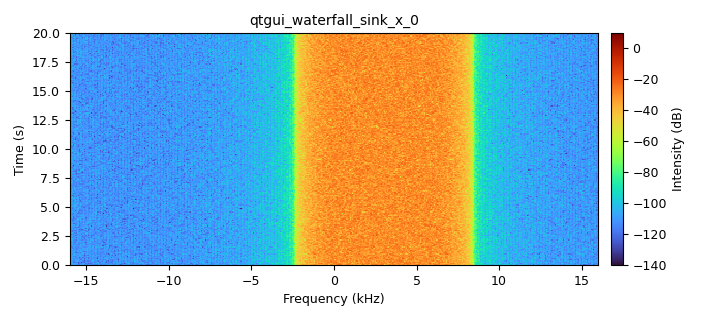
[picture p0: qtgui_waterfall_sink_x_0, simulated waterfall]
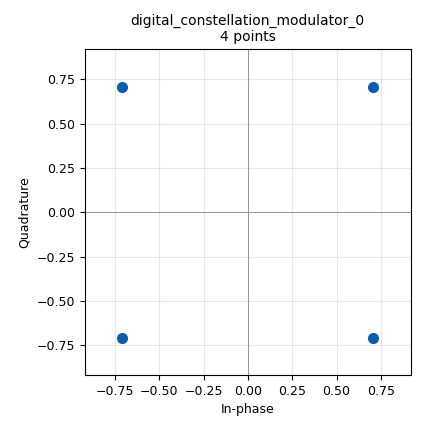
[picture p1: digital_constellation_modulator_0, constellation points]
<?xml version='1.0' encoding='utf-8'?>
<?grc format='1' created='3.7.13'?>
<flow_graph>
<block>
<key>options</key>
<param><key>id</key><value>top_block</value></param>
<param><key>generate_options</key><value>qt_gui</value></param>
</block>
<block>
<key>variable</key>
<param><key>id</key><value>exbw</value></param>
<param><key>value</key><value>.35</value></param>
</block>
<block>
<key>variable_qtgui_range</key>
<param><key>id</key><value>fc</value></param>
<param><key>value</key><value>3000</value></param>
<param><key>label</key><value>Mixer frequency</value></param>
<param><key>orient</key><value>Qt.Horizontal</value></param>
<param><key>start</key><value>-samp_rate*.5</value></param>
<param><key>step</key><value>100</value></param>
<param><key>stop</key><value>samp_rate*.5</value></param>
</block>
<block>
<key>variable_qtgui_range</key>
<param><key>id</key><value>k0_var</value></param>
<param><key>value</key><value>0</value></param>
<param><key>label</key><value>White phase noise</value></param>
<param><key>orient</key><value>Qt.Horizontal</value></param>
<param><key>start</key><value>0</value></param>
<param><key>step</key><value>.01</value></param>
<param><key>stop</key><value>.1</value></param>
</block>
<block>
<key>variable_qtgui_range</key>
<param><key>id</key><value>k2_var</value></param>
<param><key>value</key><value>0</value></param>
<param><key>label</key><value>Flicker noise</value></param>
<param><key>orient</key><value>Qt.Horizontal</value></param>
<param><key>start</key><value>0</value></param>
<param><key>step</key><value>.01</value></param>
<param><key>stop</key><value>.1</value></param>
</block>
<block>
<key>variable_constellation_rect</key>
<param><key>id</key><value>my_constellation</value></param>
<param><key>const_points</key><value>[-1-1j, -1+1j, 1+1j, 1-1j]</value></param>
<param><key>imag_sect</key><value>2</value></param>
<param><key>real_sect</key><value>2</value></param>
<param><key>rot_sym</key><value>4</value></param>
<param><key>sym_map</key><value>[0, 1, 3, 2]</value></param>
<param><key>w_imag_sect</key><value>1</value></param>
<param><key>w_real_sect</key><value>1</value></param>
</block>
<block>
<key>variable</key>
<param><key>id</key><value>pha_inc</value></param>
<param><key>value</key><value>fc*2.0*np.pi/samp_rate</value></param>
</block>
<block>
<key>variable</key>
<param><key>id</key><value>samp_rate</value></param>
<param><key>value</key><value>32000</value></param>
</block>
<block>
<key>variable</key>
<param><key>id</key><value>sps</value></param>
<param><key>value</key><value>4</value></param>
</block>
<block>
<key>analog_random_source_x</key>
<param><key>id</key><value>analog_random_source_x_0</value></param>
<param><key>max</key><value>256</value></param>
<param><key>min</key><value>0</value></param>
<param><key>num_samps</key><value>12345</value></param>
<param><key>type</key><value>byte</value></param>
<param><key>repeat</key><value>True</value></param>
</block>
<block>
<key>analog_sig_source_x</key>
<param><key>id</key><value>analog_sig_source_x_0</value></param>
<param><key>amp</key><value>1</value></param>
<param><key>_enabled</key><value>0</value></param>
<param><key>freq</key><value>1000</value></param>
<param><key>offset</key><value>0</value></param>
<param><key>type</key><value>complex</value></param>
<param><key>samp_rate</key><value>samp_rate</value></param>
<param><key>waveform</key><value>analog.GR_COS_WAVE</value></param>
</block>
<block>
<key>blocks_rotator_cc</key>
<param><key>id</key><value>blocks_rotator_cc_0</value></param>
<param><key>phase_inc</key><value>pha_inc</value></param>
</block>
<block>
<key>blocks_throttle</key>
<param><key>id</key><value>blocks_throttle_0</value></param>
<param><key>samples_per_second</key><value>samp_rate</value></param>
<param><key>type</key><value>complex</value></param>
</block>
<block>
<key>digital_constellation_modulator</key>
<param><key>id</key><value>digital_constellation_modulator_0</value></param>
<param><key>constellation</key><value>my_constellation</value></param>
<param><key>differential</key><value>True</value></param>
<param><key>excess_bw</key><value>exbw</value></param>
<param><key>samples_per_symbol</key><value>sps</value></param>
</block>
<block>
<key>import</key>
<param><key>id</key><value>import_0</value></param>
<param><key>import</key><value>import numpy as np</value></param>
</block>
<block>
<key>qtgui_waterfall_sink_x</key>
<param><key>id</key><value>qtgui_waterfall_sink_x_0</value></param>
<param><key>bw</key><value>samp_rate</value></param>
<param><key>fc</key><value>0</value></param>
<param><key>fftsize</key><value>1024</value></param>
<param><key>showports</key><value>True</value></param>
<param><key>type</key><value>complex</value></param>
<param><key>wintype</key><value>firdes.WIN_BLACKMAN_hARRIS</value></param>
</block>
<block>
<key>qtgui_waterfall_sink_x</key>
<param><key>id</key><value>qtgui_waterfall_sink_x_0_0</value></param>
<param><key>bw</key><value>samp_rate</value></param>
<param><key>fc</key><value>0</value></param>
<param><key>fftsize</key><value>1024</value></param>
<param><key>showports</key><value>True</value></param>
<param><key>type</key><value>complex</value></param>
<param><key>wintype</key><value>firdes.WIN_BLACKMAN_hARRIS</value></param>
</block>
<block>
<key>shfcc_phase_noise_mixer_cc</key>
<param><key>id</key><value>shfcc_phase_noise_mixer_cc_0</value></param>
<param><key>impair</key><value>True</value></param>
<param><key>k0</key><value>k0_var</value></param>
<param><key>k2</key><value>k2_var</value></param>
<param><key>k3</key><value>0</value></param>
<param><key>fc</key><value>fc</value></param>
<param><key>fs</key><value>samp_rate</value></param>
</block>
<block>
<key>virtual_sink</key>
<param><key>id</key><value>virtual_sink_0</value></param>
<param><key>stream_id</key><value>vid</value></param>
</block>
<block>
<key>virtual_source</key>
<param><key>id</key><value>virtual_source_0</value></param>
<param><key>stream_id</key><value>vid</value></param>
</block>
<connection><source_block_id>analog_random_source_x_0</source_block_id><sink_block_id>digital_constellation_modulator_0</sink_block_id><source_key>0</source_key><sink_key>0</sink_key></connection>
<connection><source_block_id>blocks_rotator_cc_0</source_block_id><sink_block_id>qtgui_waterfall_sink_x_0</sink_block_id><source_key>0</source_key><sink_key>0</sink_key></connection>
<connection><source_block_id>blocks_throttle_0</source_block_id><sink_block_id>blocks_rotator_cc_0</sink_block_id><source_key>0</source_key><sink_key>0</sink_key></connection>
<connection><source_block_id>blocks_throttle_0</source_block_id><sink_block_id>shfcc_phase_noise_mixer_cc_0</sink_block_id><source_key>0</source_key><sink_key>0</sink_key></connection>
<connection><source_block_id>digital_constellation_modulator_0</source_block_id><sink_block_id>virtual_sink_0</sink_block_id><source_key>0</source_key><sink_key>0</sink_key></connection>
<connection><source_block_id>shfcc_phase_noise_mixer_cc_0</source_block_id><sink_block_id>qtgui_waterfall_sink_x_0_0</sink_block_id><source_key>0</source_key><sink_key>0</sink_key></connection>
<connection><source_block_id>virtual_source_0</source_block_id><sink_block_id>blocks_throttle_0</sink_block_id><source_key>0</source_key><sink_key>0</sink_key></connection>
</flow_graph>
